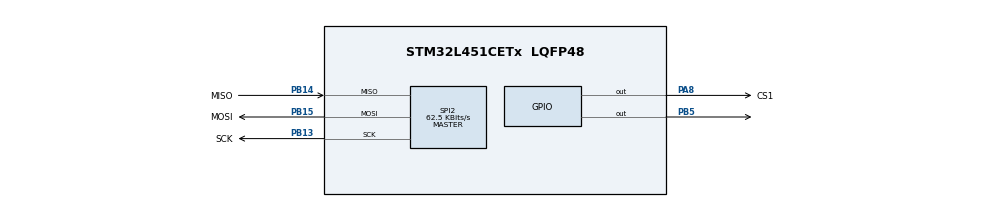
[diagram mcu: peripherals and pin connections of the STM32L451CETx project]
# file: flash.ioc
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Mcu.Family=STM32L4
Mcu.Name=STM32L451CETx
Mcu.Package=LQFP48
NVIC.PriorityGroup=NVIC_PRIORITYGROUP_4
NVIC.SPI2_IRQn=true\:0\:0\:false\:false\:true\:true\:true\:true
PA13\ (JTMS/SWDIO).Mode=Serial_Wire
PA13\ (JTMS/SWDIO).Signal=SYS_JTMS-SWDIO
PA14\ (JTCK/SWCLK).Mode=Serial_Wire
PA14\ (JTCK/SWCLK).Signal=SYS_JTCK-SWCLK
PA8.GPIO_Label=CS1
PA8.GPIO_Speed=GPIO_SPEED_FREQ_VERY_HIGH
PA8.PinState=GPIO_PIN_RESET
PA8.Signal=GPIO_Output
PB13.GPIO_Label=SCK
PB13.Mode=Full_Duplex_Master
PB13.Signal=SPI2_SCK
PB14.GPIO_Label=MISO
PB14.Mode=Full_Duplex_Master
PB14.Signal=SPI2_MISO
PB15.GPIO_Label=MOSI
PB15.Mode=Full_Duplex_Master
PB15.Signal=SPI2_MOSI
PB5.GPIO_Speed=GPIO_SPEED_FREQ_VERY_HIGH
PB5.PinState=GPIO_PIN_SET
PB5.Signal=GPIO_Output
ProjectManager.HeapSize=0x200
ProjectManager.StackSize=0x400
ProjectManager.TargetToolchain=STM32CubeIDE
RCC.HSE_VALUE=8000000
RCC.HSI48_VALUE=48000000
RCC.HSI_VALUE=16000000
RCC.LSE_VALUE=32768
RCC.MSI_VALUE=4000000
RCC.VCOOutputFreq_Value=32000000
SPI2.BaudRatePrescaler=SPI_BAUDRATEPRESCALER_64
SPI2.CalculateBaudRate=62.5 KBits/s
SPI2.DataSize=SPI_DATASIZE_8BIT
SPI2.Direction=SPI_DIRECTION_2LINES
SPI2.Mode=SPI_MODE_MASTER
SPI2.NSSPMode=SPI_NSS_PULSE_DISABLE
SPI2.VirtualType=VM_MASTER
VP_FATFS_VS_Generic.Mode=User_defined
board=custom

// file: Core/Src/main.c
/* USER CODE BEGIN Header */
/**
  ******************************************************************************
  * @file           : main.c
  * @brief          : Main program body
  ******************************************************************************
  * @attention
  *
  * Copyright (c) 2024 STMicroelectronics.
  * All rights reserved.
  *
  * This software is licensed under terms that can be found in the LICENSE file
  * in the root directory of this software component.
  * If no LICENSE file comes with this software, it is provided AS-IS.
  *
  ******************************************************************************
  */
/* USER CODE END Header */
#include "main.h"
#include "fatfs.h"

/* USER CODE BEGIN Includes */
#include "flash.h"
#include <stdio.h>
#include "ff_gen_drv.h"
/* USER CODE END Includes */

SPI_HandleTypeDef hspi2;

/* USER CODE BEGIN PV */
FATFS FatFs;
FRESULT fres;
FIL SFLASHPath[];
char buffer[512];
char str[100] = {"Hello World\0"};
int bw;
/* USER CODE END PV */

void SystemClock_Config(void);
static void MX_GPIO_Init(void);
static void MX_SPI2_Init(void);

int main(void)
{

  /* MCU Configuration--------------------------------------------------------*/

  /* Reset of all peripherals, Initializes the Flash interface and the Systick. */
  HAL_Init();

  /* Configure the system clock */
  SystemClock_Config();

  /* Initialize all configured peripherals */
  MX_GPIO_Init();
  MX_SPI2_Init();
  MX_FATFS_Init();
  /* USER CODE BEGIN 2 */
  HAL_Delay(100);
<<<<<<< HEAD
  int jedec_id = Flash_GetChipID();

 uint32_t address_to_write = 0x600000; // Example address, modify as needed
 char data_to_write[] = "Hello, Euler!"; // Example data
 Flash_Write_Bytes(address_to_write, data_to_write, sizeof(data_to_write));
 char data_readback[sizeof(data_to_write)];
 Flash_Read_Bytes(address_to_write, data_readback, sizeof(data_to_write));
  /* USER CODE END 2 */
=======

  //format drive
    //f_mkfs("", FM_ANY, 0, buffer, sizeof(buffer));

    FATFS_LinkDriver(&USER_Driver, SFLASHPath);

    //Mount drive
    fres = f_mount(&FatFs, &SFLASHPath, 0);
    if (fres != FR_OK)
    {
      while(1);
    }

    fres = f_open(&SFLASHPath, "test", FA_CREATE_ALWAYS | FA_WRITE);
    if (fres != FR_OK)
    {
   	 while(1);
    }
    else
    {
  	  fres = f_write(&SFLASHPath, &str, sizeof(str), bw);
  	  fres = f_close(&SFLASHPath);
    }

    fres = f_open(&SFLASHPath, "test", FA_READ);
    if (fres != FR_OK)
    {
  	  while(1);
    }
    else
    {
  	  fres = f_read(&SFLASHPath, &buffer, 11, bw);
    }
    f_close(&SFLASHPath);  /* USER CODE END 2 */
>>>>>>> a3873149a34dc2d032bb39f1a735e5e35f529840

  /* Infinite loop */
  while (1)
  {
  }
}

void SystemClock_Config(void)
{
  RCC_OscInitTypeDef RCC_OscInitStruct = {0};
  RCC_ClkInitTypeDef RCC_ClkInitStruct = {0};

  /** Configure the main internal regulator output voltage
  */
  if (HAL_PWREx_ControlVoltageScaling(PWR_REGULATOR_VOLTAGE_SCALE1) != HAL_OK)
  {
    Error_Handler();
  }

  /** Initializes the RCC Oscillators according to the specified parameters
  * in the RCC_OscInitTypeDef structure.
  */
  RCC_OscInitStruct.OscillatorType = RCC_OSCILLATORTYPE_MSI;
  RCC_OscInitStruct.MSIState = RCC_MSI_ON;
  RCC_OscInitStruct.MSICalibrationValue = 0;
  RCC_OscInitStruct.MSIClockRange = RCC_MSIRANGE_6;
  RCC_OscInitStruct.PLL.PLLState = RCC_PLL_NONE;
  if (HAL_RCC_OscConfig(&RCC_OscInitStruct) != HAL_OK)
  {
    Error_Handler();
  }

  /** Initializes the CPU, AHB and APB buses clocks
  */
  RCC_ClkInitStruct.ClockType = RCC_CLOCKTYPE_HCLK|RCC_CLOCKTYPE_SYSCLK
                              |RCC_CLOCKTYPE_PCLK1|RCC_CLOCKTYPE_PCLK2;
  RCC_ClkInitStruct.SYSCLKSource = RCC_SYSCLKSOURCE_MSI;
  RCC_ClkInitStruct.AHBCLKDivider = RCC_SYSCLK_DIV1;
  RCC_ClkInitStruct.APB1CLKDivider = RCC_HCLK_DIV1;
  RCC_ClkInitStruct.APB2CLKDivider = RCC_HCLK_DIV1;

  if (HAL_RCC_ClockConfig(&RCC_ClkInitStruct, FLASH_LATENCY_0) != HAL_OK)
  {
    Error_Handler();
  }
}

static void MX_SPI2_Init(void)
{

  /* SPI2 parameter configuration*/
  hspi2.Instance = SPI2;
  hspi2.Init.Mode = SPI_MODE_MASTER;
  hspi2.Init.Direction = SPI_DIRECTION_2LINES;
  hspi2.Init.DataSize = SPI_DATASIZE_8BIT;
  hspi2.Init.CLKPolarity = SPI_POLARITY_LOW;
  hspi2.Init.CLKPhase = SPI_PHASE_1EDGE;
  hspi2.Init.NSS = SPI_NSS_SOFT;
  hspi2.Init.BaudRatePrescaler = SPI_BAUDRATEPRESCALER_64;
  hspi2.Init.FirstBit = SPI_FIRSTBIT_MSB;
  hspi2.Init.TIMode = SPI_TIMODE_DISABLE;
  hspi2.Init.CRCCalculation = SPI_CRCCALCULATION_DISABLE;
  hspi2.Init.CRCPolynomial = 7;
  hspi2.Init.CRCLength = SPI_CRC_LENGTH_DATASIZE;
  hspi2.Init.NSSPMode = SPI_NSS_PULSE_DISABLE;
  if (HAL_SPI_Init(&hspi2) != HAL_OK)
  {
    Error_Handler();
  }

}

static void MX_GPIO_Init(void)
{
  GPIO_InitTypeDef GPIO_InitStruct = {0};

  /* GPIO Ports Clock Enable */
  __HAL_RCC_GPIOB_CLK_ENABLE();
  __HAL_RCC_GPIOA_CLK_ENABLE();

  /*Configure GPIO pin Output Level */
  HAL_GPIO_WritePin(CS1_GPIO_Port, CS1_Pin, GPIO_PIN_RESET);

  /*Configure GPIO pin Output Level */
  HAL_GPIO_WritePin(GPIOB, GPIO_PIN_5, GPIO_PIN_SET);

  /*Configure GPIO pin : CS1_Pin */
  GPIO_InitStruct.Pin = CS1_Pin;
  GPIO_InitStruct.Mode = GPIO_MODE_OUTPUT_PP;
  GPIO_InitStruct.Pull = GPIO_NOPULL;
  GPIO_InitStruct.Speed = GPIO_SPEED_FREQ_VERY_HIGH;
  HAL_GPIO_Init(CS1_GPIO_Port, &GPIO_InitStruct);

  /*Configure GPIO pin : PB5 */
  GPIO_InitStruct.Pin = GPIO_PIN_5;
  GPIO_InitStruct.Mode = GPIO_MODE_OUTPUT_PP;
  GPIO_InitStruct.Pull = GPIO_NOPULL;
  GPIO_InitStruct.Speed = GPIO_SPEED_FREQ_VERY_HIGH;
  HAL_GPIO_Init(GPIOB, &GPIO_InitStruct);

}

void Error_Handler(void)
{
  __disable_irq();
  while (1)
  {
  }
}
